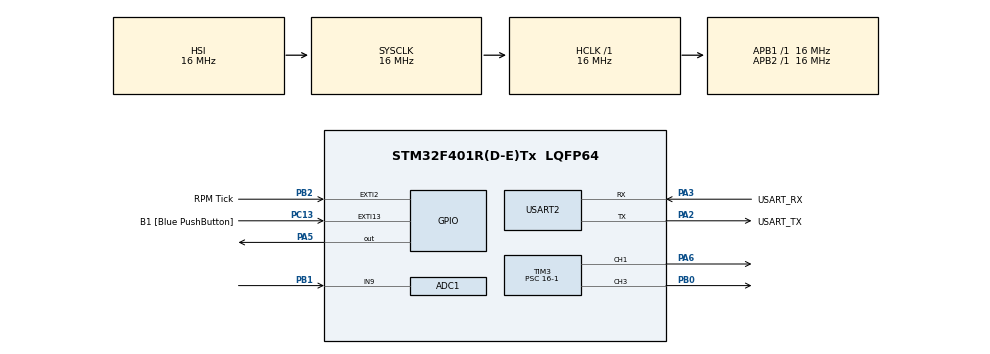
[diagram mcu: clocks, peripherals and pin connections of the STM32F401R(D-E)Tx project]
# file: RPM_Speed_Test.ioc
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ADC1.Channel-0\#ChannelRegularConversion=ADC_CHANNEL_9
ADC1.NbrOfConversionFlag=1
ADC1.Rank-0\#ChannelRegularConversion=1
ADC1.SamplingTime-0\#ChannelRegularConversion=ADC_SAMPLETIME_3CYCLES
ADC1.master=1
Mcu.Family=STM32F4
Mcu.Name=STM32F401R(D-E)Tx
Mcu.Package=LQFP64
NVIC.EXTI15_10_IRQn=true\:0\:0\:false\:false\:true\:true\:true\:true
NVIC.EXTI2_IRQn=true\:0\:0\:false\:false\:true\:true\:true\:true
NVIC.PriorityGroup=NVIC_PRIORITYGROUP_4
PA13.GPIO_Label=TMS
PA13.Mode=Trace_Asynchronous_SW
PA13.Signal=SYS_JTMS-SWDIO
PA14.GPIO_Label=TCK
PA14.Mode=Trace_Asynchronous_SW
PA14.Signal=SYS_JTCK-SWCLK
PA2.GPIO_Label=USART_TX
PA2.GPIO_Mode=GPIO_MODE_AF_PP
PA2.GPIO_PuPd=GPIO_NOPULL
PA2.GPIO_Speed=GPIO_SPEED_FREQ_LOW
PA2.Mode=Asynchronous
PA2.Signal=USART2_TX
PA3.GPIO_Label=USART_RX
PA3.GPIO_Mode=GPIO_MODE_AF_PP
PA3.GPIO_PuPd=GPIO_NOPULL
PA3.GPIO_Speed=GPIO_SPEED_FREQ_LOW
PA3.Mode=Asynchronous
PA3.Signal=USART2_RX
PA5.Signal=GPIO_Output
PA6.Signal=S_TIM3_CH1
PB0.Signal=S_TIM3_CH3
PB1.Signal=ADCx_IN9
PB2.GPIO_Label=RPM Tick
PB2.Signal=GPXTI2
PB3.GPIO_Label=SWO
PB3.Mode=Trace_Asynchronous_SW
PB3.Signal=SYS_JTDO-SWO
PC13-ANTI_TAMP.GPIO_Label=B1 [Blue PushButton]
PC13-ANTI_TAMP.GPIO_ModeDefaultEXTI=GPIO_MODE_IT_FALLING
PC13-ANTI_TAMP.GPIO_PuPd=GPIO_NOPULL
PC13-ANTI_TAMP.Signal=GPXTI13
PC14-OSC32_IN.Mode=LSE-External-Oscillator
PC14-OSC32_IN.Signal=RCC_OSC32_IN
PC15-OSC32_OUT.Mode=LSE-External-Oscillator
PC15-OSC32_OUT.Signal=RCC_OSC32_OUT
PH0\ -\ OSC_IN.Mode=HSE-External-Clock-Source
PH0\ -\ OSC_IN.Signal=RCC_OSC_IN
PH1\ -\ OSC_OUT.Mode=HSE-External-Clock-Source
PH1\ -\ OSC_OUT.Signal=RCC_OSC_OUT
ProjectManager.HeapSize=0x200
ProjectManager.StackSize=0x400
ProjectManager.TargetToolchain=STM32CubeIDE
RCC.48MHZClocksFreq_Value=48000000
RCC.AHBFreq_Value=16000000
RCC.APB1Freq_Value=16000000
RCC.APB1TimFreq_Value=16000000
RCC.APB2Freq_Value=16000000
RCC.APB2TimFreq_Value=16000000
RCC.CortexFreq_Value=16000000
RCC.HCLKFreq_Value=16000000
RCC.HSE_VALUE=8000000
RCC.HSI_VALUE=16000000
RCC.PLLN=336
RCC.PLLP=RCC_PLLP_DIV4
RCC.PLLQ=7
RCC.SYSCLKFreq_VALUE=16000000
RCC.VCOOutputFreq_Value=336000000
SH.ADCx_IN9.0=ADC1_IN9,IN9
SH.S_TIM3_CH1.0=TIM3_CH1,PWM Generation1 CH1
SH.S_TIM3_CH3.0=TIM3_CH3,PWM Generation3 CH3
TIM3.AutoReloadPreload=TIM_AUTORELOAD_PRELOAD_ENABLE
TIM3.Channel-PWM\ Generation1\ CH1=TIM_CHANNEL_1
TIM3.Channel-PWM\ Generation3\ CH3=TIM_CHANNEL_3
TIM3.Period=2000-1
TIM3.Prescaler=16-1
TIM3.Pulse-PWM\ Generation1\ CH1=1200-1
USART2.VirtualMode=VM_ASYNC
VP_TIM3_VS_ClockSourceINT.Mode=Internal
board=NUCLEO-F401RE

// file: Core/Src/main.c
/* USER CODE BEGIN Header */
/**
  ******************************************************************************
  * @file           : main.c
  * @brief          : Main program body
  ******************************************************************************
  * @attention
  *
  * Copyright (c) 2026 STMicroelectronics.
  * All rights reserved.
  *
  * This software is licensed under terms that can be found in the LICENSE file
  * in the root directory of this software component.
  * If no LICENSE file comes with this software, it is provided AS-IS.
  *
  ******************************************************************************
  */
/* USER CODE END Header */
#include "main.h"

/* USER CODE BEGIN Includes */
#include <stdio.h>
#include <string.h>
/* USER CODE END Includes */

ADC_HandleTypeDef hadc1;

TIM_HandleTypeDef htim3;

UART_HandleTypeDef huart2;

/* USER CODE BEGIN PV */
volatile uint32_t rpm_tick_count = 0;
uint8_t txd_msg_buffer[64] = {0};
/* USER CODE END PV */

void SystemClock_Config(void);
static void MX_GPIO_Init(void);
static void MX_USART2_UART_Init(void);
static void MX_TIM3_Init(void);
static void MX_ADC1_Init(void);
/* USER CODE BEGIN PFP */
void report_rpm_ticks(void);
void delay_and_report(uint32_t ms);
/* USER CODE END PFP */

int main(void)
{

  /* USER CODE BEGIN 1 */
  int TIM3_Ch1_DCVAL = 0; //duty cycle = 0
  int TIM3_Ch3_DCVAL = 0; //duty cycle = 0
  /* USER CODE END 1 */

  /* MCU Configuration--------------------------------------------------------*/

  /* Reset of all peripherals, Initializes the Flash interface and the Systick. */
  HAL_Init();

  /* Configure the system clock */
  SystemClock_Config();

  /* Initialize all configured peripherals */
  MX_GPIO_Init();
  MX_USART2_UART_Init();
  MX_TIM3_Init();
  MX_ADC1_Init();
  /* USER CODE BEGIN 2 */
  HAL_TIM_Base_Init(&htim3);
  HAL_TIM_PWM_Start(&htim3, TIM_CHANNEL_1);
  HAL_TIM_PWM_Start(&htim3, TIM_CHANNEL_3);
  TIM3->CCR1 = 0; // capture control register = 0 (control the duty cycle)
  TIM3->CCR3 = 0;
  /* USER CODE END 2 */

  /* Infinite loop */
  /* USER CODE BEGIN WHILE */
  while (1)
  {
  // PWM Blink Test
	  TIM3->CCR3 = 0;
	  while(TIM3_Ch1_DCVAL < 2000){
		  TIM3_Ch1_DCVAL += (200);
		  TIM3->CCR1 = TIM3_Ch1_DCVAL;
		  delay_and_report(5000);
	  }
	  while(TIM3_Ch1_DCVAL > 0) {
		  TIM3_Ch1_DCVAL -= (200);
		  TIM3->CCR1 = TIM3_Ch1_DCVAL;
		  delay_and_report(5000);
	  }
	  HAL_Delay(1000);

	  TIM3->CCR1 = 0;
	  while(TIM3_Ch3_DCVAL < 2000){
		  TIM3_Ch3_DCVAL += (200);
		  TIM3->CCR3 = TIM3_Ch3_DCVAL;
		  delay_and_report(5000);
	  }
	  while(TIM3_Ch3_DCVAL > 0) {
		  TIM3_Ch3_DCVAL -= (200);
		  TIM3->CCR3 = TIM3_Ch3_DCVAL;
		  delay_and_report(5000);
	  }
	  delay_and_report(1000);
    /* USER CODE END WHILE */

  }
}

void SystemClock_Config(void)
{
  RCC_OscInitTypeDef RCC_OscInitStruct = {0};
  RCC_ClkInitTypeDef RCC_ClkInitStruct = {0};

  /** Configure the main internal regulator output voltage
  */
  __HAL_RCC_PWR_CLK_ENABLE();
  __HAL_PWR_VOLTAGESCALING_CONFIG(PWR_REGULATOR_VOLTAGE_SCALE2);

  /** Initializes the RCC Oscillators according to the specified parameters
  * in the RCC_OscInitTypeDef structure.
  */
  RCC_OscInitStruct.OscillatorType = RCC_OSCILLATORTYPE_HSI;
  RCC_OscInitStruct.HSIState = RCC_HSI_ON;
  RCC_OscInitStruct.HSICalibrationValue = RCC_HSICALIBRATION_DEFAULT;
  RCC_OscInitStruct.PLL.PLLState = RCC_PLL_NONE;
  if (HAL_RCC_OscConfig(&RCC_OscInitStruct) != HAL_OK)
  {
    Error_Handler();
  }

  /** Initializes the CPU, AHB and APB buses clocks
  */
  RCC_ClkInitStruct.ClockType = RCC_CLOCKTYPE_HCLK|RCC_CLOCKTYPE_SYSCLK
                              |RCC_CLOCKTYPE_PCLK1|RCC_CLOCKTYPE_PCLK2;
  RCC_ClkInitStruct.SYSCLKSource = RCC_SYSCLKSOURCE_HSI;
  RCC_ClkInitStruct.AHBCLKDivider = RCC_SYSCLK_DIV1;
  RCC_ClkInitStruct.APB1CLKDivider = RCC_HCLK_DIV1;
  RCC_ClkInitStruct.APB2CLKDivider = RCC_HCLK_DIV1;

  if (HAL_RCC_ClockConfig(&RCC_ClkInitStruct, FLASH_LATENCY_0) != HAL_OK)
  {
    Error_Handler();
  }
}

static void MX_ADC1_Init(void)
{

  ADC_ChannelConfTypeDef sConfig = {0};

  /** Configure the global features of the ADC (Clock, Resolution, Data Alignment and number of conversion)
  */
  hadc1.Instance = ADC1;
  hadc1.Init.ClockPrescaler = ADC_CLOCK_SYNC_PCLK_DIV2;
  hadc1.Init.Resolution = ADC_RESOLUTION_12B;
  hadc1.Init.ScanConvMode = DISABLE;
  hadc1.Init.ContinuousConvMode = DISABLE;
  hadc1.Init.DiscontinuousConvMode = DISABLE;
  hadc1.Init.ExternalTrigConvEdge = ADC_EXTERNALTRIGCONVEDGE_NONE;
  hadc1.Init.ExternalTrigConv = ADC_SOFTWARE_START;
  hadc1.Init.DataAlign = ADC_DATAALIGN_RIGHT;
  hadc1.Init.NbrOfConversion = 1;
  hadc1.Init.DMAContinuousRequests = DISABLE;
  hadc1.Init.EOCSelection = ADC_EOC_SINGLE_CONV;
  if (HAL_ADC_Init(&hadc1) != HAL_OK)
  {
    Error_Handler();
  }

  /** Configure for the selected ADC regular channel its corresponding rank in the sequencer and its sample time.
  */
  sConfig.Channel = ADC_CHANNEL_9;
  sConfig.Rank = 1;
  sConfig.SamplingTime = ADC_SAMPLETIME_3CYCLES;
  if (HAL_ADC_ConfigChannel(&hadc1, &sConfig) != HAL_OK)
  {
    Error_Handler();
  }

}

static void MX_TIM3_Init(void)
{

  TIM_ClockConfigTypeDef sClockSourceConfig = {0};
  TIM_MasterConfigTypeDef sMasterConfig = {0};
  TIM_OC_InitTypeDef sConfigOC = {0};

  htim3.Instance = TIM3;
  htim3.Init.Prescaler = 16-1;
  htim3.Init.CounterMode = TIM_COUNTERMODE_UP;
  htim3.Init.Period = 2000-1;
  htim3.Init.ClockDivision = TIM_CLOCKDIVISION_DIV1;
  htim3.Init.AutoReloadPreload = TIM_AUTORELOAD_PRELOAD_ENABLE;
  if (HAL_TIM_Base_Init(&htim3) != HAL_OK)
  {
    Error_Handler();
  }
  sClockSourceConfig.ClockSource = TIM_CLOCKSOURCE_INTERNAL;
  if (HAL_TIM_ConfigClockSource(&htim3, &sClockSourceConfig) != HAL_OK)
  {
    Error_Handler();
  }
  if (HAL_TIM_PWM_Init(&htim3) != HAL_OK)
  {
    Error_Handler();
  }
  sMasterConfig.MasterOutputTrigger = TIM_TRGO_RESET;
  sMasterConfig.MasterSlaveMode = TIM_MASTERSLAVEMODE_DISABLE;
  if (HAL_TIMEx_MasterConfigSynchronization(&htim3, &sMasterConfig) != HAL_OK)
  {
    Error_Handler();
  }
  sConfigOC.OCMode = TIM_OCMODE_PWM1;
  sConfigOC.Pulse = 1200-1;
  sConfigOC.OCPolarity = TIM_OCPOLARITY_HIGH;
  sConfigOC.OCFastMode = TIM_OCFAST_DISABLE;
  if (HAL_TIM_PWM_ConfigChannel(&htim3, &sConfigOC, TIM_CHANNEL_1) != HAL_OK)
  {
    Error_Handler();
  }
  sConfigOC.Pulse = 0;
  if (HAL_TIM_PWM_ConfigChannel(&htim3, &sConfigOC, TIM_CHANNEL_3) != HAL_OK)
  {
    Error_Handler();
  }
  HAL_TIM_MspPostInit(&htim3);

}

static void MX_USART2_UART_Init(void)
{

  huart2.Instance = USART2;
  huart2.Init.BaudRate = 115200;
  huart2.Init.WordLength = UART_WORDLENGTH_8B;
  huart2.Init.StopBits = UART_STOPBITS_1;
  huart2.Init.Parity = UART_PARITY_NONE;
  huart2.Init.Mode = UART_MODE_TX_RX;
  huart2.Init.HwFlowCtl = UART_HWCONTROL_NONE;
  huart2.Init.OverSampling = UART_OVERSAMPLING_16;
  if (HAL_UART_Init(&huart2) != HAL_OK)
  {
    Error_Handler();
  }

}

static void MX_GPIO_Init(void)
{
  GPIO_InitTypeDef GPIO_InitStruct = {0};

  /* GPIO Ports Clock Enable */
  __HAL_RCC_GPIOC_CLK_ENABLE();
  __HAL_RCC_GPIOH_CLK_ENABLE();
  __HAL_RCC_GPIOA_CLK_ENABLE();
  __HAL_RCC_GPIOB_CLK_ENABLE();

  /*Configure GPIO pin Output Level */
  HAL_GPIO_WritePin(GPIOA, GPIO_PIN_5, GPIO_PIN_RESET);

  /*Configure GPIO pin : B1_Pin */
  GPIO_InitStruct.Pin = B1_Pin;
  GPIO_InitStruct.Mode = GPIO_MODE_IT_FALLING;
  GPIO_InitStruct.Pull = GPIO_NOPULL;
  HAL_GPIO_Init(B1_GPIO_Port, &GPIO_InitStruct);

  /*Configure GPIO pin : PA5 */
  GPIO_InitStruct.Pin = GPIO_PIN_5;
  GPIO_InitStruct.Mode = GPIO_MODE_OUTPUT_PP;
  GPIO_InitStruct.Pull = GPIO_NOPULL;
  GPIO_InitStruct.Speed = GPIO_SPEED_FREQ_LOW;
  HAL_GPIO_Init(GPIOA, &GPIO_InitStruct);

  /*Configure GPIO pin : RPM_Tick_Pin */
  GPIO_InitStruct.Pin = RPM_Tick_Pin;
  GPIO_InitStruct.Mode = GPIO_MODE_IT_RISING;
  GPIO_InitStruct.Pull = GPIO_NOPULL;
  HAL_GPIO_Init(RPM_Tick_GPIO_Port, &GPIO_InitStruct);

  /* EXTI interrupt init*/
  HAL_NVIC_SetPriority(EXTI2_IRQn, 0, 0);
  HAL_NVIC_EnableIRQ(EXTI2_IRQn);

  HAL_NVIC_SetPriority(EXTI15_10_IRQn, 0, 0);
  HAL_NVIC_EnableIRQ(EXTI15_10_IRQn);

}

/* USER CODE BEGIN 4 */
void report_rpm_ticks(void)
{
    sprintf((char*)txd_msg_buffer, "RPM ticks: %lu\r\n", (unsigned long)rpm_tick_count);
    HAL_UART_Transmit(&huart2, txd_msg_buffer, strlen((char*)txd_msg_buffer), 100);
}

void delay_and_report(uint32_t ms)
{
    while (ms >= 500) {
        HAL_Delay(500);
        report_rpm_ticks();
        ms -= 500;
    }
    if (ms > 0) HAL_Delay(ms);
}

void HAL_GPIO_EXTI_Callback(uint16_t GPIO_Pin)
{
	if(GPIO_Pin == RPM_Tick_Pin)
	{
		rpm_tick_count += 1;
	}
}
/* USER CODE END 4 */

void Error_Handler(void)
{
  __disable_irq();
  while (1)
  {
  }
}
